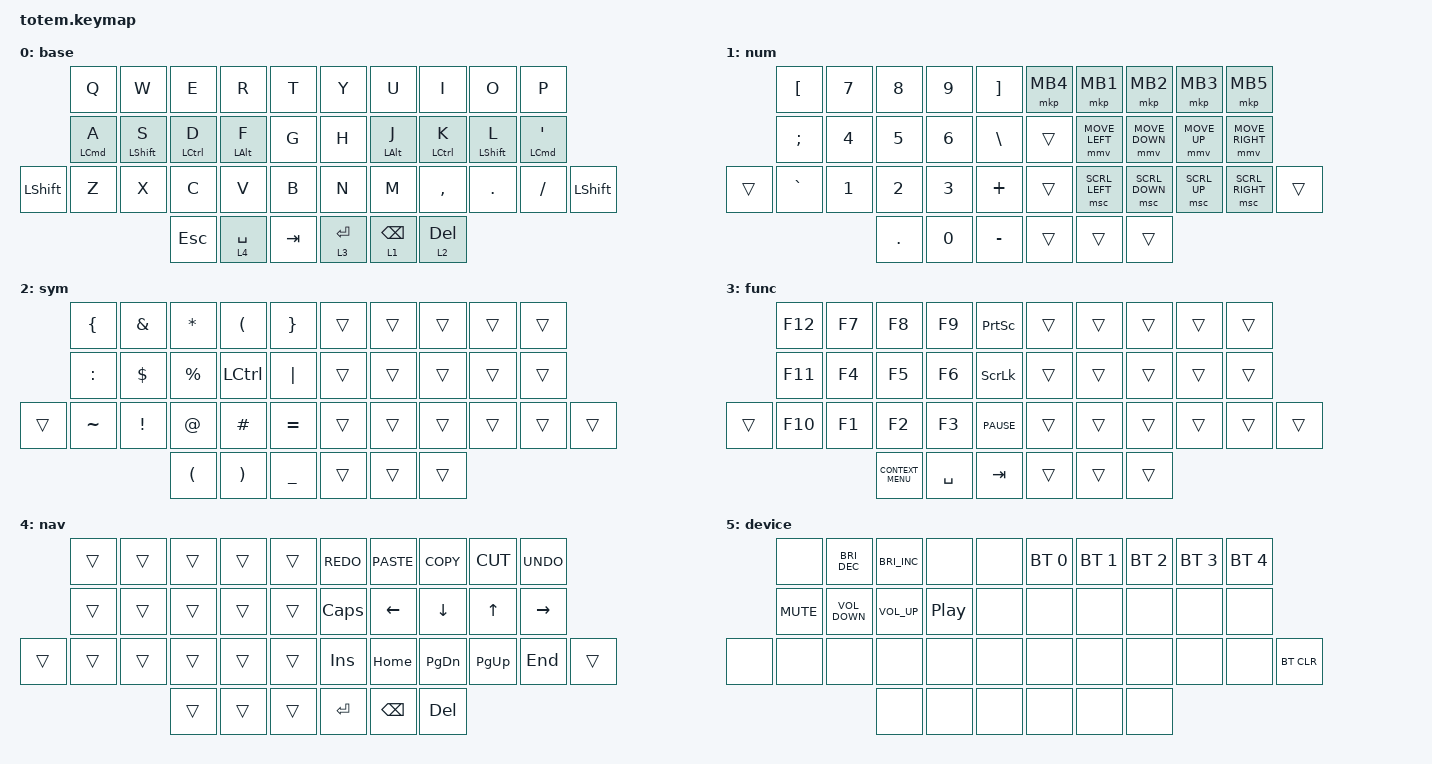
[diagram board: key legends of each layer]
//
//                                                        ▀▀▀▀▀     ▀▀▀▀▀          ▀▀█▀▀
//                                                        ▄▀▀▀▄  ▄  ▄▀▀▀▄  ▄  ▄▀▀▀▄  █  ▄▀▀▀▄
//                                                        █   █  █  █   █  █  █   █  █  █   █
//                                                         ▀▀▀   █   ▀▀▀   █   ▀▀▀   ▀   ▀▀▀
//                                                               █      ▄▄▄█▄▄▄    █   █  
//                                                               ▀      █  █  █     █▄█
//                                                             ▀▀▀▀▀    █  █  █      ▀
//                                                                      ▀  ▀  ▀
//
// ▄▄▄▄▄▄▄▄▄▄▄▄▄▄▄▄▄▄▄▄▄▄▄▄▄▄▄▄▄▄▄▄▄▄▄▄▄▄▄▄▄▄▄▄▄▄▄▄▄▄▄▄▄▄▄▄▄▄▄▄▄▄▄▄▄▄▄▄▄▄▄▄▄▄▄▄▄▄▄▄▄▄▄▄▄▄▄▄▄▄▄▄▄▄▄▄▄▄▄▄▄▄▄▄▄▄▄▄▄▄▄▄▄▄▄▄▄▄▄▄▄▄▄▄▄▄▄▄▄▄▄▄▄▄▄▄▄▄▄▄▄▄▄▄▄▄▄▄▄

#include <behaviors.dtsi>
#include <dt-bindings/zmk/bt.h>
#include <dt-bindings/zmk/keys.h>
#include <dt-bindings/zmk/pointing.h>

/ {
    combos {
        compatible = "zmk,combos";

        wr {
            bindings = <&kp RIGHT_ALT>;
            key-positions = <3 1>;
        };

        xv {
            bindings = <&kp RCTRL>;
            key-positions = <24 22>;
        };

        uo {
            bindings = <&kp RIGHT_ALT>;
            key-positions = <6 8>;
        };

        mdot {
            bindings = <&kp RCTRL>;
            key-positions = <27 29>;
        };

        nRalt {
            bindings = <&kp RIGHT_ALT>;
            key-positions = <17 18>;
        };

        nRctrl {
            bindings = <&kp RCTRL>;
            key-positions = <7 8>;
        };

        nm {
            bindings = <&kp B>;
            key-positions = <26 27>;
        };
    };

    behaviors {
        nlt: nlt {
            compatible = "zmk,behavior-hold-tap";
            label = "NLT";
            bindings = <&mo>, <&kp>;

            #binding-cells = <2>;
            tapping-term-ms = <170>;
            quick-tap-ms = <0>;
            flavor = "tap-preferred";
        };

        nmt: nmt {
            compatible = "zmk,behavior-hold-tap";
            label = "NMT";
            bindings = <&kp>, <&kp>;

            #binding-cells = <2>;
            tapping-term-ms = <170>;
            quick-tap-ms = <0>;
            flavor = "tap-preferred";
        };
    };

    keymap {
        compatible = "zmk,keymap";

        base {
            bindings = <
                &kp Q        &kp W         &kp E         &kp R            &kp T      &kp Y         &kp U             &kp I          &kp O         &kp P
                &nmt LCMD A  &nmt LSHFT S  &nmt LCTRL D  &nmt LEFT_ALT F  &kp G      &kp H         &nmt LEFT_ALT J   &nmt LCTRL K   &nmt LSHFT L  &nmt LCMD SQT
&kp LEFT_SHIFT  &kp Z        &kp X         &kp C         &kp V            &kp B      &kp N         &kp M             &kp COMMA      &kp DOT       &kp FSLH       &kp LEFT_SHIFT
                                           &kp ESCAPE    &nlt 4 SPACE     &kp TAB    &nlt 3 ENTER  &nlt 1 BACKSPACE  &nlt 2 DELETE
            >;
        };

        num {
            bindings = <
        &kp LBKT   &kp N7  &kp N8   &kp N9  &kp RBKT     &mkp MB4  &mkp MB1        &mkp MB2        &mkp MB3      &mkp MB5
        &kp SEMI   &kp N4  &kp N5   &kp N6  &kp BSLH     &trans    &mmv MOVE_LEFT  &mmv MOVE_DOWN  &mmv MOVE_UP  &mmv MOVE_RIGHT
&trans  &kp GRAVE  &kp N1  &kp N2   &kp N3  &kp PLUS     &trans    &msc SCRL_LEFT  &msc SCRL_DOWN  &msc SCRL_UP  &msc SCRL_RIGHT  &trans
                           &kp DOT  &kp N0  &kp MINUS    &trans    &trans          &trans
            >;
        };

        sym {
            bindings = <
        &kp LEFT_BRACE  &kp AMPERSAND    &kp ASTERISK          &kp LEFT_PARENTHESIS   &kp RIGHT_BRACE    &trans  &trans  &trans  &trans  &trans
        &kp COLON       &kp DOLLAR       &kp PERCENT           &kp LCTRL              &kp PIPE           &trans  &trans  &trans  &trans  &trans
&trans  &kp TILDE       &kp EXCLAMATION  &kp AT_SIGN           &kp HASH               &kp EQUAL          &trans  &trans  &trans  &trans  &trans  &trans
                                         &kp LEFT_PARENTHESIS  &kp RIGHT_PARENTHESIS  &kp UNDERSCORE     &trans  &trans  &trans
            >;
        };

        func {
            bindings = <
        &kp F12  &kp F7  &kp F8              &kp F9     &kp PRINTSCREEN    &trans  &trans  &trans  &trans  &trans
        &kp F11  &kp F4  &kp F5              &kp F6     &kp SCROLLLOCK     &trans  &trans  &trans  &trans  &trans
&trans  &kp F10  &kp F1  &kp F2              &kp F3     &kp C_PAUSE        &trans  &trans  &trans  &trans  &trans  &trans
                         &kp K_CONTEXT_MENU  &kp SPACE  &kp TAB            &trans  &trans  &trans
            >;
        };

        nav {
            bindings = <
        &trans  &trans  &trans  &trans  &trans    &kp K_REDO  &kp K_PASTE  &kp K_COPY  &kp K_CUT  &kp K_UNDO
        &trans  &trans  &trans  &trans  &trans    &kp CLCK    &kp LEFT     &kp DOWN    &kp UP     &kp RIGHT
&trans  &trans  &trans  &trans  &trans  &trans    &kp INS     &kp HOME     &kp PG_DN   &kp PG_UP  &kp END     &trans
                        &trans  &trans  &trans    &kp RET     &kp BSPC     &kp DEL
            >;
        };

        device {
            bindings = <
       &none       &kp C_BRIGHTNESS_DEC  &kp C_BRIGHTNESS_INC  &none             &none    &bt BT_SEL 0  &bt BT_SEL 1  &bt BT_SEL 2  &bt BT_SEL 3  &bt BT_SEL 4
       &kp K_MUTE  &kp C_VOLUME_DOWN     &kp C_VOLUME_UP       &kp C_PLAY_PAUSE  &none    &none         &none         &none         &none         &none
&none  &none       &none                 &none                 &none             &none    &none         &none         &none         &none         &none         &bt BT_CLR
                                         &none                 &none             &none    &none         &none         &none
            >;
        };
    };

    conditional_layers {
        compatible = "zmk,conditional-layers";

        device {
            if-layers = <1 3>;
            then-layer = <5>;
        };
    };
};
